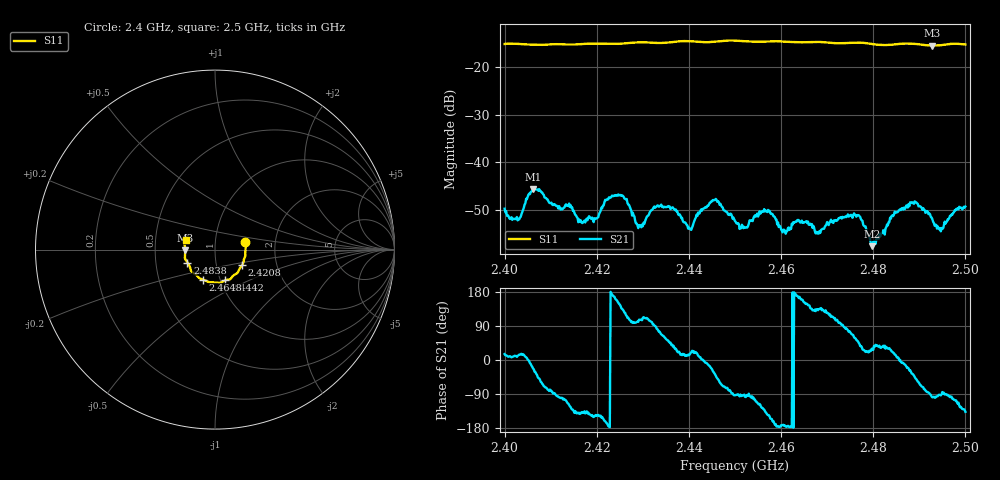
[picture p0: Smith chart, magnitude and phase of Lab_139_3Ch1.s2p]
# Hz S RI R 50
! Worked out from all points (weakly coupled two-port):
!   601 points, 2.4 GHz to 2.5 GHz, reference 50 ohm
!   highest |S21| = -45.57 dB at 2.4062 GHz (marker M1); lowest = -57.5 dB at 2.4798 GHz (marker M2)
!   lowest |S11| = -15.6 dB at 2.4928 GHz (marker M3), VSWR 1.40, Z = 35.8 - j0.348 ohm
!   |S11| at or under -10 dB: start of sweep to end of sweep
!   S12 and S22 are empty: the file has one direction only
!   S11 on the Smith chart (normalised r, x): 2.4 GHz: 1.40, +0.12; 2.4208 GHz: 1.33, -0.24; 2.4442 GHz: 1.05, -0.37; 2.4648 GHz: 0.83, -0.29; 2.4838 GHz: 0.73, -0.11; 2.5 GHz: 0.72, +0.08
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2.4e9  0.1679 0.0412  0.00316 0.000882  0 0  0 0
2.403e9  0.1714 0.0244  0.00251 0.000559  0 0  0 0
2.406167e9  0.17 -0.00175  0.00487 -0.00201  0 0  0 0
2.416667e9  0.159 -0.0681  -0.00181 -0.00151  0 0  0 0
2.420833e9  0.1507 -0.0872  -0.0026 -0.0017  0 0  0 0
2.425167e9  0.1353 -0.1091  -0.00362 0.00278  0 0  0 0
2.4295e9  0.126 -0.1288  -0.000624 0.0021  0 0  0 0
2.433333e9  0.108 -0.1404  0.000744 0.00346  0 0  0 0
2.440333e9  0.0807 -0.1661  0.00192 0.000627  0 0  0 0
2.444167e9  0.0566 -0.1713  0.00343 -0.000768  0 0  0 0
2.45e9  0.0245 -0.1861  -0.000134 -0.00243  0 0  0 0
2.456833e9  -0.0191 -0.1822  -0.00238 -0.00196  0 0  0 0
2.464833e9  -0.0684 -0.1667  -0.00214 0.00103  0 0  0 0
2.466667e9  -0.0801 -0.1627  -0.0016 0.00161  0 0  0 0
2.476333e9  -0.1292 -0.1228  0.00162 0.00217  0 0  0 0
2.479833e9  -0.1371 -0.1046  0.00116 0.00065  0 0  0 0
2.483333e9  -0.1504 -0.0762  0.00205 0.00119  0 0  0 0
2.483833e9  -0.1533 -0.0721  0.00232 0.00114  0 0  0 0
2.488833e9  -0.1677 -0.044  0.00278 -0.00245  0 0  0 0
2.492833e9  -0.1658 -0.00473  -0.000371 -0.00252  0 0  0 0
2.494667e9  -0.1671 0.0148  -0.000109 -0.0019  0 0  0 0
2.5e9  -0.1621 0.0531  -0.00251 -0.00237  0 0  0 0
